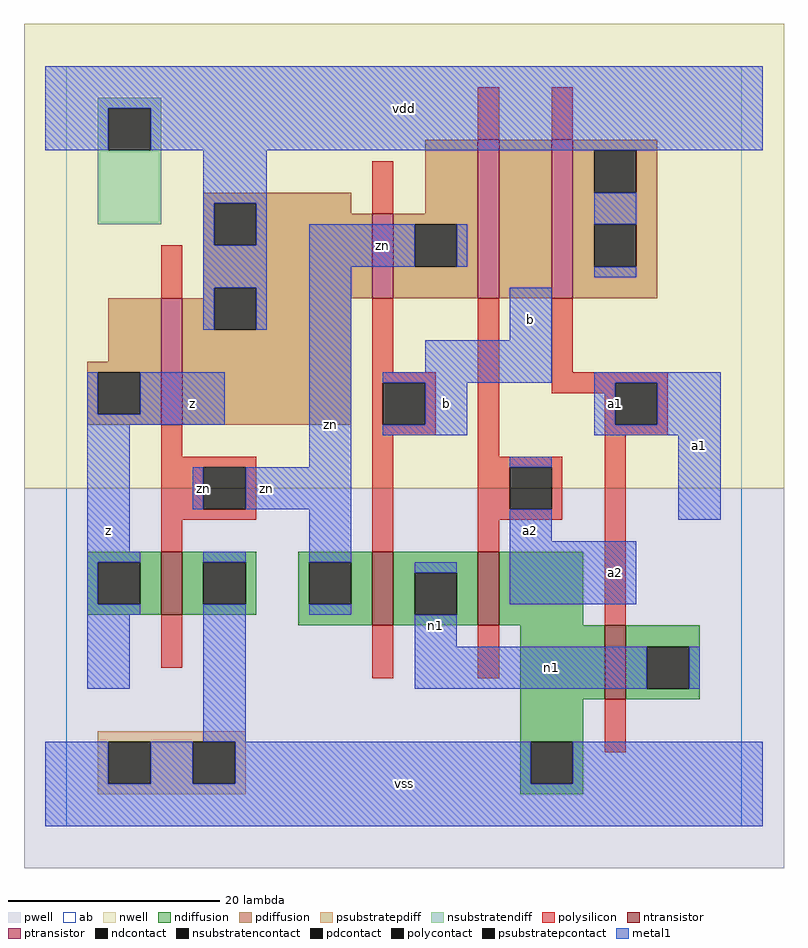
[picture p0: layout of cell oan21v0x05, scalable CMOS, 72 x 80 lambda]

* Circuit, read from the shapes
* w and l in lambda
.subckt oan21v0x05 a1 a2 b n1 vdd vss z zn
M1 vss zn z vss nfet w=6 l=2
M2 n1 b zn vss nfet w=7 l=2
M3 vss a2 n1 vss nfet w=7 l=2
M4 n1 a1 vss vss nfet w=7 l=2
M5 vdd zn z vdd pfet w=12 l=2
M6 zn b vdd vdd pfet w=8 l=2
M7 n2 a2 zn vdd pfet w=15 l=2
M8 vdd a1 n2 vdd pfet w=15 l=2
.ends

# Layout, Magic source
magic
tech scmos
<< ab >>
rect 0 0 64 72
<< pwell >>
rect -4 -4 68 32
<< nwell >>
rect -4 32 68 76
<< polysilicon >>
rect 39 65 41 70
rect 46 65 48 70
rect 29 58 31 63
rect 9 50 11 55
rect 29 43 31 50
rect 29 42 35 43
rect 29 38 30 42
rect 34 38 35 42
rect 9 35 11 38
rect 29 37 35 38
rect 9 34 18 35
rect 9 30 13 34
rect 17 30 18 34
rect 9 29 18 30
rect 9 26 11 29
rect 29 26 31 37
rect 39 35 41 50
rect 46 43 48 50
rect 46 42 57 43
rect 46 41 52 42
rect 51 38 52 41
rect 56 38 57 42
rect 51 37 57 38
rect 39 34 47 35
rect 39 30 42 34
rect 46 30 47 34
rect 39 29 47 30
rect 39 26 41 29
rect 9 15 11 20
rect 51 19 53 37
rect 29 14 31 19
rect 39 14 41 19
rect 51 7 53 12
<< ndiffusion >>
rect 2 25 9 26
rect 2 21 3 25
rect 7 21 9 25
rect 2 20 9 21
rect 11 25 18 26
rect 11 21 13 25
rect 17 21 18 25
rect 11 20 18 21
rect 22 25 29 26
rect 22 21 23 25
rect 27 21 29 25
rect 22 19 29 21
rect 31 24 39 26
rect 31 20 33 24
rect 37 20 39 24
rect 31 19 39 20
rect 41 19 49 26
rect 43 12 51 19
rect 53 17 60 19
rect 53 13 55 17
rect 59 13 60 17
rect 53 12 60 13
rect 43 8 49 12
rect 43 4 44 8
rect 48 4 49 8
rect 43 3 49 4
<< pdiffusion >>
rect 13 59 27 60
rect 13 55 14 59
rect 18 58 27 59
rect 34 58 39 65
rect 18 55 29 58
rect 13 51 29 55
rect 13 50 14 51
rect 4 44 9 50
rect 2 43 9 44
rect 2 39 3 43
rect 7 39 9 43
rect 2 38 9 39
rect 11 47 14 50
rect 18 50 29 51
rect 31 57 39 58
rect 31 53 33 57
rect 37 53 39 57
rect 31 50 39 53
rect 41 50 46 65
rect 48 64 56 65
rect 48 60 50 64
rect 54 60 56 64
rect 48 57 56 60
rect 48 53 50 57
rect 54 53 56 57
rect 48 50 56 53
rect 18 47 27 50
rect 11 38 27 47
<< metal1 >>
rect -2 68 66 72
rect -2 64 4 68
rect 8 64 66 68
rect 13 59 19 64
rect 13 55 14 59
rect 18 55 19 59
rect 50 57 54 60
rect 13 51 19 55
rect 13 47 14 51
rect 18 47 19 51
rect 23 53 33 57
rect 37 53 38 57
rect 2 39 3 43
rect 7 39 15 43
rect 2 38 15 39
rect 2 26 6 38
rect 23 34 27 53
rect 50 52 54 53
rect 42 46 46 51
rect 34 43 46 46
rect 30 42 46 43
rect 50 42 62 43
rect 34 38 38 42
rect 30 37 38 38
rect 50 38 52 42
rect 56 38 62 42
rect 50 37 62 38
rect 12 30 13 34
rect 17 30 27 34
rect 2 25 7 26
rect 2 21 3 25
rect 2 20 7 21
rect 13 25 17 26
rect 2 13 6 20
rect 13 8 17 21
rect 23 25 27 30
rect 42 34 46 35
rect 42 27 46 30
rect 58 29 62 37
rect 23 20 27 21
rect 33 24 37 25
rect 42 21 54 27
rect 33 17 37 20
rect 33 13 55 17
rect 59 13 60 17
rect -2 4 4 8
rect 8 4 12 8
rect 16 4 44 8
rect 48 4 66 8
rect -2 0 66 4
<< ntransistor >>
rect 9 20 11 26
rect 29 19 31 26
rect 39 19 41 26
rect 51 12 53 19
<< ptransistor >>
rect 9 38 11 50
rect 29 50 31 58
rect 39 50 41 65
rect 46 50 48 65
<< polycontact >>
rect 30 38 34 42
rect 13 30 17 34
rect 52 38 56 42
rect 42 30 46 34
<< ndcontact >>
rect 3 21 7 25
rect 13 21 17 25
rect 23 21 27 25
rect 33 20 37 24
rect 55 13 59 17
rect 44 4 48 8
<< pdcontact >>
rect 14 55 18 59
rect 3 39 7 43
rect 14 47 18 51
rect 33 53 37 57
rect 50 60 54 64
rect 50 53 54 57
<< psubstratepcontact >>
rect 4 4 8 8
rect 12 4 16 8
<< nsubstratencontact >>
rect 4 64 8 68
<< psubstratepdiff >>
rect 3 8 17 9
rect 3 4 4 8
rect 8 4 12 8
rect 16 4 17 8
rect 3 3 17 4
<< nsubstratendiff >>
rect 3 68 9 69
rect 3 64 4 68
rect 8 64 9 68
rect 3 57 9 64
<< labels >>
rlabel polysilicon 13 32 13 32 6 zn
rlabel metal1 4 28 4 28 6 z
rlabel metal1 12 40 12 40 6 z
rlabel metal1 19 32 19 32 6 zn
rlabel metal1 25 38 25 38 6 zn
rlabel metal1 32 4 32 4 6 vss
rlabel metal1 35 19 35 19 6 n1
rlabel metal1 44 28 44 28 6 a2
rlabel metal1 36 40 36 40 6 b
rlabel metal1 44 48 44 48 6 b
rlabel metal1 30 55 30 55 6 zn
rlabel metal1 32 68 32 68 6 vdd
rlabel metal1 46 15 46 15 6 n1
rlabel metal1 52 24 52 24 6 a2
rlabel metal1 60 36 60 36 6 a1
rlabel metal1 52 40 52 40 6 a1
<< end >>
